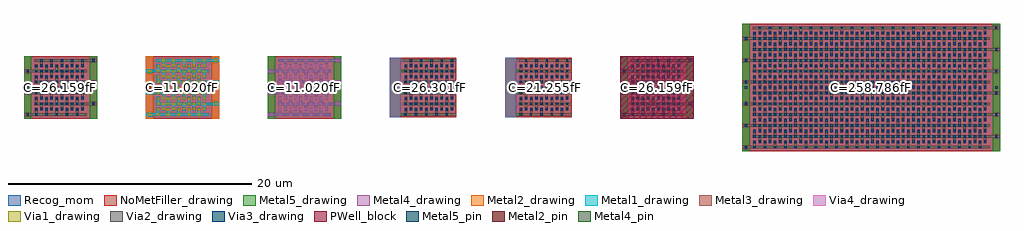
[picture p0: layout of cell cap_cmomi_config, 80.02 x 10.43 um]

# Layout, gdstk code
import gdstk
lib = gdstk.Library(unit=1e-6, precision=1e-09)
def R(c, l, rs):  # rectangles x0, y0, x1, y1
    for r in rs: c.add(gdstk.rectangle(r[:2], r[2:], *l))
def A(c, l, x, y, w, h, nx, ny, dx, dy):  # array of equal rectangles
    R(c, l, [(x+i*dx, y+j*dy, x+i*dx+w, y+j*dy+h) for i in range(nx) for j in range(ny)])
Metal1_drawing = (8, 0)
Metal2_drawing = (10, 0)
Metal2_pin = (10, 2)
Via1_drawing = (19, 0)
Via2_drawing = (29, 0)
Metal3_drawing = (30, 0)
PWell_block = (46, 21)
Via3_drawing = (49, 0)
Metal4_drawing = (50, 0)
Metal4_pin = (50, 2)
Via4_drawing = (66, 0)
Metal5_drawing = (67, 0)
Metal5_pin = (67, 2)
Recog_mom = (99, 39)
NoMetFiller_drawing = (160, 0)

cap_cmomi_config = lib.new_cell('cap_cmomi_config')
A(cap_cmomi_config, Metal1_drawing, 59.045, -5.05, 0.31, 0.31, 1, 6, 0, 1.78)
A(cap_cmomi_config, Metal1_drawing, 58.9, -5, 20.27, 0.21, 1, 6, 0, 1.78)
A(cap_cmomi_config, Metal1_drawing, 59.8, -4.895, 0.21, 0.575, 23, 11, 0.84, 0.89)
A(cap_cmomi_config, Metal1_drawing, 60.22, -4.58, 0.21, 0.575, 23, 11, 0.84, 0.89)
A(cap_cmomi_config, Metal1_drawing, 79.565, -4.16, 0.31, 0.31, 1, 6, 0, 1.78)
A(cap_cmomi_config, Metal1_drawing, 59.75, -4.11, 20.27, 0.21, 1, 6, 0, 1.78)
A(cap_cmomi_config, Metal1_drawing, 0.145, -2.38, 0.31, 0.31, 1, 3, 0, 1.78)
A(cap_cmomi_config, Metal1_drawing, 10.145, -2.38, 0.31, 0.31, 1, 3, 0, 1.78)
A(cap_cmomi_config, Metal1_drawing, 49.045, -2.38, 0.31, 0.31, 1, 3, 0, 1.78)
A(cap_cmomi_config, Metal1_drawing, 0, -2.33, 5.15, 0.21, 1, 3, 0, 1.78)
A(cap_cmomi_config, Metal1_drawing, 10, -2.33, 5.15, 0.21, 1, 3, 0, 1.78)
A(cap_cmomi_config, Metal1_drawing, 31.15, -2.33, 4.3, 0.21, 1, 6, 0, 0.89)
A(cap_cmomi_config, Metal1_drawing, 48.9, -2.33, 5.15, 0.21, 1, 3, 0, 1.78)
A(cap_cmomi_config, Metal1_drawing, 0.9, -2.225, 0.21, 0.575, 5, 5, 0.84, 0.89)
A(cap_cmomi_config, Metal1_drawing, 10.9, -2.225, 0.21, 0.575, 5, 5, 0.84, 0.89)
A(cap_cmomi_config, Metal1_drawing, 31.2, -2.225, 0.21, 0.575, 5, 5, 0.84, 0.89)
A(cap_cmomi_config, Metal1_drawing, 49.8, -2.225, 0.21, 0.575, 5, 5, 0.84, 0.89)
A(cap_cmomi_config, Metal1_drawing, 1.32, -1.91, 0.21, 0.575, 5, 5, 0.84, 0.89)
A(cap_cmomi_config, Metal1_drawing, 11.32, -1.91, 0.21, 0.575, 5, 5, 0.84, 0.89)
A(cap_cmomi_config, Metal1_drawing, 31.62, -1.91, 0.21, 0.575, 5, 5, 0.84, 0.89)
A(cap_cmomi_config, Metal1_drawing, 50.22, -1.91, 0.21, 0.575, 5, 5, 0.84, 0.89)
A(cap_cmomi_config, Metal1_drawing, 5.545, -1.49, 0.31, 0.31, 1, 3, 0, 1.78)
A(cap_cmomi_config, Metal1_drawing, 15.545, -1.49, 0.31, 0.31, 1, 3, 0, 1.78)
A(cap_cmomi_config, Metal1_drawing, 54.445, -1.49, 0.31, 0.31, 1, 3, 0, 1.78)
A(cap_cmomi_config, Metal1_drawing, 0.85, -1.44, 5.15, 0.21, 1, 3, 0, 1.78)
A(cap_cmomi_config, Metal1_drawing, 10.85, -1.44, 5.15, 0.21, 1, 3, 0, 1.78)
A(cap_cmomi_config, Metal1_drawing, 49.75, -1.44, 5.15, 0.21, 1, 3, 0, 1.78)
A(cap_cmomi_config, Metal2_drawing, 59.045, -5.05, 0.31, 0.31, 1, 6, 0, 1.78)
A(cap_cmomi_config, Metal2_drawing, 58.9, -5, 20.27, 0.21, 1, 6, 0, 1.78)
A(cap_cmomi_config, Metal2_drawing, 59.8, -4.895, 0.21, 0.575, 23, 11, 0.84, 0.89)
A(cap_cmomi_config, Metal2_drawing, 60.22, -4.58, 0.21, 0.575, 23, 11, 0.84, 0.89)
A(cap_cmomi_config, Metal2_drawing, 79.565, -4.16, 0.31, 0.31, 1, 6, 0, 1.78)
A(cap_cmomi_config, Metal2_drawing, 59.75, -4.11, 20.27, 0.21, 1, 6, 0, 1.78)
A(cap_cmomi_config, Metal2_drawing, 0.145, -2.38, 0.31, 0.31, 1, 3, 0, 1.78)
A(cap_cmomi_config, Metal2_drawing, 49.045, -2.38, 0.31, 0.31, 1, 3, 0, 1.78)
A(cap_cmomi_config, Metal2_drawing, 0, -2.33, 5.15, 0.21, 1, 3, 0, 1.78)
A(cap_cmomi_config, Metal2_drawing, 10, -2.33, 5.15, 0.21, 1, 3, 0, 1.78)
A(cap_cmomi_config, Metal2_drawing, 31.15, -2.33, 4.3, 0.21, 1, 6, 0, 0.89)
A(cap_cmomi_config, Metal2_drawing, 40.6, -2.33, 4.3, 0.21, 1, 6, 0, 0.89)
A(cap_cmomi_config, Metal2_drawing, 48.9, -2.33, 5.15, 0.21, 1, 3, 0, 1.78)
A(cap_cmomi_config, Metal2_drawing, 0.9, -2.225, 0.21, 0.575, 5, 5, 0.84, 0.89)
A(cap_cmomi_config, Metal2_drawing, 10.9, -2.225, 0.21, 0.575, 5, 5, 0.84, 0.89)
A(cap_cmomi_config, Metal2_drawing, 31.2, -2.225, 0.21, 0.575, 5, 5, 0.84, 0.89)
A(cap_cmomi_config, Metal2_drawing, 40.65, -2.225, 0.21, 0.575, 5, 5, 0.84, 0.89)
A(cap_cmomi_config, Metal2_drawing, 49.8, -2.225, 0.21, 0.575, 5, 5, 0.84, 0.89)
A(cap_cmomi_config, Metal2_drawing, 1.32, -1.91, 0.21, 0.575, 5, 5, 0.84, 0.89)
A(cap_cmomi_config, Metal2_drawing, 11.32, -1.91, 0.21, 0.575, 5, 5, 0.84, 0.89)
A(cap_cmomi_config, Metal2_drawing, 31.62, -1.91, 0.21, 0.575, 5, 5, 0.84, 0.89)
A(cap_cmomi_config, Metal2_drawing, 41.07, -1.91, 0.21, 0.575, 5, 5, 0.84, 0.89)
A(cap_cmomi_config, Metal2_drawing, 50.22, -1.91, 0.21, 0.575, 5, 5, 0.84, 0.89)
A(cap_cmomi_config, Metal2_drawing, 5.545, -1.49, 0.31, 0.31, 1, 3, 0, 1.78)
A(cap_cmomi_config, Metal2_drawing, 54.445, -1.49, 0.31, 0.31, 1, 3, 0, 1.78)
A(cap_cmomi_config, Metal2_drawing, 0.85, -1.44, 5.15, 0.21, 1, 3, 0, 1.78)
A(cap_cmomi_config, Metal2_drawing, 10.85, -1.44, 5.15, 0.21, 1, 3, 0, 1.78)
A(cap_cmomi_config, Metal2_drawing, 49.75, -1.44, 5.15, 0.21, 1, 3, 0, 1.78)
R(cap_cmomi_config, Metal2_drawing, [(10,-2.545,10.6,2.545), (15.4,-2.545,16,2.545)])
R(cap_cmomi_config, Metal2_pin, [(10.2,-0.105,10.4,0.105), (15.6,-0.105,15.8,0.105)])
A(cap_cmomi_config, Via1_drawing, 59.105, -4.99, 0.19, 0.19, 1, 6, 0, 1.78)
A(cap_cmomi_config, Via1_drawing, 59.81, -4.99, 0.19, 0.19, 23, 2, 0.84, 0.41)
A(cap_cmomi_config, Via1_drawing, 60.23, -4.51, 0.19, 0.19, 23, 11, 0.84, 0.89)
A(cap_cmomi_config, Via1_drawing, 59.81, -4.1, 0.19, 0.19, 46, 10, 0.42, 0.89)
A(cap_cmomi_config, Via1_drawing, 79.625, -4.1, 0.19, 0.19, 1, 6, 0, 1.78)
A(cap_cmomi_config, Via1_drawing, 59.81, -3.69, 0.19, 0.19, 23, 10, 0.84, 0.89)
A(cap_cmomi_config, Via1_drawing, 0.205, -2.32, 0.19, 0.19, 1, 3, 0, 1.78)
A(cap_cmomi_config, Via1_drawing, 0.91, -2.32, 0.19, 0.19, 5, 2, 0.84, 0.41)
A(cap_cmomi_config, Via1_drawing, 10.205, -2.32, 0.19, 0.19, 1, 3, 0, 1.78)
A(cap_cmomi_config, Via1_drawing, 10.91, -2.32, 0.19, 0.19, 5, 2, 0.84, 0.41)
A(cap_cmomi_config, Via1_drawing, 31.21, -2.32, 0.19, 0.19, 5, 2, 0.84, 0.41)
A(cap_cmomi_config, Via1_drawing, 49.105, -2.32, 0.19, 0.19, 1, 3, 0, 1.78)
A(cap_cmomi_config, Via1_drawing, 49.81, -2.32, 0.19, 0.19, 5, 2, 0.84, 0.41)
A(cap_cmomi_config, Via1_drawing, 1.33, -1.84, 0.19, 0.19, 5, 5, 0.84, 0.89)
A(cap_cmomi_config, Via1_drawing, 11.33, -1.84, 0.19, 0.19, 5, 5, 0.84, 0.89)
A(cap_cmomi_config, Via1_drawing, 31.63, -1.84, 0.19, 0.19, 5, 5, 0.84, 0.89)
A(cap_cmomi_config, Via1_drawing, 50.23, -1.84, 0.19, 0.19, 5, 5, 0.84, 0.89)
A(cap_cmomi_config, Via1_drawing, 0.91, -1.43, 0.19, 0.19, 10, 4, 0.42, 0.89)
A(cap_cmomi_config, Via1_drawing, 5.605, -1.43, 0.19, 0.19, 1, 3, 0, 1.78)
A(cap_cmomi_config, Via1_drawing, 10.91, -1.43, 0.19, 0.19, 10, 4, 0.42, 0.89)
A(cap_cmomi_config, Via1_drawing, 15.605, -1.43, 0.19, 0.19, 1, 3, 0, 1.78)
A(cap_cmomi_config, Via1_drawing, 31.21, -1.43, 0.19, 0.19, 10, 4, 0.42, 0.89)
A(cap_cmomi_config, Via1_drawing, 49.81, -1.43, 0.19, 0.19, 10, 4, 0.42, 0.89)
A(cap_cmomi_config, Via1_drawing, 54.505, -1.43, 0.19, 0.19, 1, 3, 0, 1.78)
A(cap_cmomi_config, Via1_drawing, 0.91, -1.02, 0.19, 0.19, 5, 4, 0.84, 0.89)
A(cap_cmomi_config, Via1_drawing, 10.91, -1.02, 0.19, 0.19, 5, 4, 0.84, 0.89)
A(cap_cmomi_config, Via1_drawing, 31.21, -1.02, 0.19, 0.19, 5, 4, 0.84, 0.89)
A(cap_cmomi_config, Via1_drawing, 49.81, -1.02, 0.19, 0.19, 5, 4, 0.84, 0.89)
A(cap_cmomi_config, Via1_drawing, 1.33, 2.13, 0.19, 0.19, 5, 1, 0.84, 0)
A(cap_cmomi_config, Via1_drawing, 11.33, 2.13, 0.19, 0.19, 5, 1, 0.84, 0)
A(cap_cmomi_config, Via1_drawing, 31.63, 2.13, 0.19, 0.19, 5, 1, 0.84, 0)
A(cap_cmomi_config, Via1_drawing, 50.23, 2.13, 0.19, 0.19, 5, 1, 0.84, 0)
A(cap_cmomi_config, Via1_drawing, 60.23, 4.8, 0.19, 0.19, 23, 1, 0.84, 0)
A(cap_cmomi_config, Via2_drawing, 59.105, -4.99, 0.19, 0.19, 1, 6, 0, 1.78)
A(cap_cmomi_config, Via2_drawing, 59.81, -4.99, 0.19, 0.19, 23, 2, 0.84, 0.41)
A(cap_cmomi_config, Via2_drawing, 60.23, -4.51, 0.19, 0.19, 23, 11, 0.84, 0.89)
A(cap_cmomi_config, Via2_drawing, 59.81, -4.1, 0.19, 0.19, 46, 10, 0.42, 0.89)
A(cap_cmomi_config, Via2_drawing, 79.625, -4.1, 0.19, 0.19, 1, 6, 0, 1.78)
A(cap_cmomi_config, Via2_drawing, 59.81, -3.69, 0.19, 0.19, 23, 10, 0.84, 0.89)
A(cap_cmomi_config, Via2_drawing, 0.205, -2.32, 0.19, 0.19, 1, 3, 0, 1.78)
A(cap_cmomi_config, Via2_drawing, 0.91, -2.32, 0.19, 0.19, 5, 2, 0.84, 0.41)
A(cap_cmomi_config, Via2_drawing, 31.21, -2.32, 0.19, 0.19, 5, 2, 0.84, 0.41)
A(cap_cmomi_config, Via2_drawing, 40.66, -2.32, 0.19, 0.19, 5, 2, 0.84, 0.41)
A(cap_cmomi_config, Via2_drawing, 49.105, -2.32, 0.19, 0.19, 1, 3, 0, 1.78)
A(cap_cmomi_config, Via2_drawing, 49.81, -2.32, 0.19, 0.19, 5, 2, 0.84, 0.41)
A(cap_cmomi_config, Via2_drawing, 1.33, -1.84, 0.19, 0.19, 5, 5, 0.84, 0.89)
A(cap_cmomi_config, Via2_drawing, 31.63, -1.84, 0.19, 0.19, 5, 5, 0.84, 0.89)
A(cap_cmomi_config, Via2_drawing, 41.08, -1.84, 0.19, 0.19, 5, 5, 0.84, 0.89)
A(cap_cmomi_config, Via2_drawing, 50.23, -1.84, 0.19, 0.19, 5, 5, 0.84, 0.89)
A(cap_cmomi_config, Via2_drawing, 0.91, -1.43, 0.19, 0.19, 10, 4, 0.42, 0.89)
A(cap_cmomi_config, Via2_drawing, 5.605, -1.43, 0.19, 0.19, 1, 3, 0, 1.78)
A(cap_cmomi_config, Via2_drawing, 31.21, -1.43, 0.19, 0.19, 10, 4, 0.42, 0.89)
A(cap_cmomi_config, Via2_drawing, 40.66, -1.43, 0.19, 0.19, 10, 4, 0.42, 0.89)
A(cap_cmomi_config, Via2_drawing, 49.81, -1.43, 0.19, 0.19, 10, 4, 0.42, 0.89)
A(cap_cmomi_config, Via2_drawing, 54.505, -1.43, 0.19, 0.19, 1, 3, 0, 1.78)
A(cap_cmomi_config, Via2_drawing, 0.91, -1.02, 0.19, 0.19, 5, 4, 0.84, 0.89)
A(cap_cmomi_config, Via2_drawing, 31.21, -1.02, 0.19, 0.19, 5, 4, 0.84, 0.89)
A(cap_cmomi_config, Via2_drawing, 40.66, -1.02, 0.19, 0.19, 5, 4, 0.84, 0.89)
A(cap_cmomi_config, Via2_drawing, 49.81, -1.02, 0.19, 0.19, 5, 4, 0.84, 0.89)
A(cap_cmomi_config, Via2_drawing, 1.33, 2.13, 0.19, 0.19, 5, 1, 0.84, 0)
A(cap_cmomi_config, Via2_drawing, 31.63, 2.13, 0.19, 0.19, 5, 1, 0.84, 0)
A(cap_cmomi_config, Via2_drawing, 41.08, 2.13, 0.19, 0.19, 5, 1, 0.84, 0)
A(cap_cmomi_config, Via2_drawing, 50.23, 2.13, 0.19, 0.19, 5, 1, 0.84, 0)
A(cap_cmomi_config, Via2_drawing, 60.23, 4.8, 0.19, 0.19, 23, 1, 0.84, 0)
A(cap_cmomi_config, Metal3_drawing, 59.045, -5.05, 0.31, 0.31, 1, 6, 0, 1.78)
A(cap_cmomi_config, Metal3_drawing, 58.9, -5, 20.27, 0.21, 1, 6, 0, 1.78)
A(cap_cmomi_config, Metal3_drawing, 59.8, -4.895, 0.21, 0.575, 23, 11, 0.84, 0.89)
A(cap_cmomi_config, Metal3_drawing, 60.22, -4.58, 0.21, 0.575, 23, 11, 0.84, 0.89)
A(cap_cmomi_config, Metal3_drawing, 79.565, -4.16, 0.31, 0.31, 1, 6, 0, 1.78)
A(cap_cmomi_config, Metal3_drawing, 59.75, -4.11, 20.27, 0.21, 1, 6, 0, 1.78)
A(cap_cmomi_config, Metal3_drawing, 0.145, -2.38, 0.31, 0.31, 1, 3, 0, 1.78)
A(cap_cmomi_config, Metal3_drawing, 49.045, -2.38, 0.31, 0.31, 1, 3, 0, 1.78)
A(cap_cmomi_config, Metal3_drawing, 0, -2.33, 5.15, 0.21, 1, 3, 0, 1.78)
A(cap_cmomi_config, Metal3_drawing, 31.15, -2.33, 4.3, 0.21, 1, 6, 0, 0.89)
A(cap_cmomi_config, Metal3_drawing, 40.6, -2.33, 4.3, 0.21, 1, 6, 0, 0.89)
A(cap_cmomi_config, Metal3_drawing, 48.9, -2.33, 5.15, 0.21, 1, 3, 0, 1.78)
A(cap_cmomi_config, Metal3_drawing, 0.9, -2.225, 0.21, 0.575, 5, 5, 0.84, 0.89)
A(cap_cmomi_config, Metal3_drawing, 31.2, -2.225, 0.21, 0.575, 5, 5, 0.84, 0.89)
A(cap_cmomi_config, Metal3_drawing, 40.65, -2.225, 0.21, 0.575, 5, 5, 0.84, 0.89)
A(cap_cmomi_config, Metal3_drawing, 49.8, -2.225, 0.21, 0.575, 5, 5, 0.84, 0.89)
A(cap_cmomi_config, Metal3_drawing, 1.32, -1.91, 0.21, 0.575, 5, 5, 0.84, 0.89)
A(cap_cmomi_config, Metal3_drawing, 31.62, -1.91, 0.21, 0.575, 5, 5, 0.84, 0.89)
A(cap_cmomi_config, Metal3_drawing, 41.07, -1.91, 0.21, 0.575, 5, 5, 0.84, 0.89)
A(cap_cmomi_config, Metal3_drawing, 50.22, -1.91, 0.21, 0.575, 5, 5, 0.84, 0.89)
A(cap_cmomi_config, Metal3_drawing, 5.545, -1.49, 0.31, 0.31, 1, 3, 0, 1.78)
A(cap_cmomi_config, Metal3_drawing, 54.445, -1.49, 0.31, 0.31, 1, 3, 0, 1.78)
A(cap_cmomi_config, Metal3_drawing, 0.85, -1.44, 5.15, 0.21, 1, 3, 0, 1.78)
A(cap_cmomi_config, Metal3_drawing, 49.75, -1.44, 5.15, 0.21, 1, 3, 0, 1.78)
R(cap_cmomi_config, PWell_block, [(48.9,-2.545,54.9,2.545)])
A(cap_cmomi_config, Via3_drawing, 59.105, -4.99, 0.19, 0.19, 1, 6, 0, 1.78)
A(cap_cmomi_config, Via3_drawing, 59.81, -4.99, 0.19, 0.19, 23, 2, 0.84, 0.41)
A(cap_cmomi_config, Via3_drawing, 60.23, -4.51, 0.19, 0.19, 23, 11, 0.84, 0.89)
A(cap_cmomi_config, Via3_drawing, 59.81, -4.1, 0.19, 0.19, 46, 10, 0.42, 0.89)
A(cap_cmomi_config, Via3_drawing, 79.625, -4.1, 0.19, 0.19, 1, 6, 0, 1.78)
A(cap_cmomi_config, Via3_drawing, 59.81, -3.69, 0.19, 0.19, 23, 10, 0.84, 0.89)
A(cap_cmomi_config, Via3_drawing, 0.205, -2.32, 0.19, 0.19, 1, 3, 0, 1.78)
A(cap_cmomi_config, Via3_drawing, 0.91, -2.32, 0.19, 0.19, 5, 2, 0.84, 0.41)
A(cap_cmomi_config, Via3_drawing, 31.21, -2.32, 0.19, 0.19, 5, 2, 0.84, 0.41)
A(cap_cmomi_config, Via3_drawing, 40.66, -2.32, 0.19, 0.19, 5, 2, 0.84, 0.41)
A(cap_cmomi_config, Via3_drawing, 49.105, -2.32, 0.19, 0.19, 1, 3, 0, 1.78)
A(cap_cmomi_config, Via3_drawing, 49.81, -2.32, 0.19, 0.19, 5, 2, 0.84, 0.41)
A(cap_cmomi_config, Via3_drawing, 1.33, -1.84, 0.19, 0.19, 5, 5, 0.84, 0.89)
A(cap_cmomi_config, Via3_drawing, 31.63, -1.84, 0.19, 0.19, 5, 5, 0.84, 0.89)
A(cap_cmomi_config, Via3_drawing, 41.08, -1.84, 0.19, 0.19, 5, 5, 0.84, 0.89)
A(cap_cmomi_config, Via3_drawing, 50.23, -1.84, 0.19, 0.19, 5, 5, 0.84, 0.89)
A(cap_cmomi_config, Via3_drawing, 0.91, -1.43, 0.19, 0.19, 10, 4, 0.42, 0.89)
A(cap_cmomi_config, Via3_drawing, 5.605, -1.43, 0.19, 0.19, 1, 3, 0, 1.78)
A(cap_cmomi_config, Via3_drawing, 31.21, -1.43, 0.19, 0.19, 10, 4, 0.42, 0.89)
A(cap_cmomi_config, Via3_drawing, 40.66, -1.43, 0.19, 0.19, 10, 4, 0.42, 0.89)
A(cap_cmomi_config, Via3_drawing, 49.81, -1.43, 0.19, 0.19, 10, 4, 0.42, 0.89)
A(cap_cmomi_config, Via3_drawing, 54.505, -1.43, 0.19, 0.19, 1, 3, 0, 1.78)
A(cap_cmomi_config, Via3_drawing, 0.91, -1.02, 0.19, 0.19, 5, 4, 0.84, 0.89)
A(cap_cmomi_config, Via3_drawing, 31.21, -1.02, 0.19, 0.19, 5, 4, 0.84, 0.89)
A(cap_cmomi_config, Via3_drawing, 40.66, -1.02, 0.19, 0.19, 5, 4, 0.84, 0.89)
A(cap_cmomi_config, Via3_drawing, 49.81, -1.02, 0.19, 0.19, 5, 4, 0.84, 0.89)
A(cap_cmomi_config, Via3_drawing, 1.33, 2.13, 0.19, 0.19, 5, 1, 0.84, 0)
A(cap_cmomi_config, Via3_drawing, 31.63, 2.13, 0.19, 0.19, 5, 1, 0.84, 0)
A(cap_cmomi_config, Via3_drawing, 41.08, 2.13, 0.19, 0.19, 5, 1, 0.84, 0)
A(cap_cmomi_config, Via3_drawing, 50.23, 2.13, 0.19, 0.19, 5, 1, 0.84, 0)
A(cap_cmomi_config, Via3_drawing, 60.23, 4.8, 0.19, 0.19, 23, 1, 0.84, 0)
A(cap_cmomi_config, Metal4_drawing, 59.045, -5.05, 0.31, 0.31, 1, 6, 0, 1.78)
A(cap_cmomi_config, Metal4_drawing, 58.9, -5, 20.27, 0.21, 1, 6, 0, 1.78)
A(cap_cmomi_config, Metal4_drawing, 59.8, -4.895, 0.21, 0.575, 23, 11, 0.84, 0.89)
A(cap_cmomi_config, Metal4_drawing, 60.22, -4.58, 0.21, 0.575, 23, 11, 0.84, 0.89)
A(cap_cmomi_config, Metal4_drawing, 79.565, -4.16, 0.31, 0.31, 1, 6, 0, 1.78)
A(cap_cmomi_config, Metal4_drawing, 59.75, -4.11, 20.27, 0.21, 1, 6, 0, 1.78)
A(cap_cmomi_config, Metal4_drawing, 0.145, -2.38, 0.31, 0.31, 1, 3, 0, 1.78)
A(cap_cmomi_config, Metal4_drawing, 20.145, -2.38, 0.31, 0.31, 1, 3, 0, 1.78)
A(cap_cmomi_config, Metal4_drawing, 49.045, -2.38, 0.31, 0.31, 1, 3, 0, 1.78)
A(cap_cmomi_config, Metal4_drawing, 0, -2.33, 5.15, 0.21, 1, 3, 0, 1.78)
A(cap_cmomi_config, Metal4_drawing, 20, -2.33, 5.15, 0.21, 1, 3, 0, 1.78)
A(cap_cmomi_config, Metal4_drawing, 31.15, -2.33, 4.3, 0.21, 1, 3, 0, 1.78)
A(cap_cmomi_config, Metal4_drawing, 40.6, -2.33, 4.3, 0.21, 1, 3, 0, 1.78)
A(cap_cmomi_config, Metal4_drawing, 48.9, -2.33, 5.15, 0.21, 1, 3, 0, 1.78)
A(cap_cmomi_config, Metal4_drawing, 0.9, -2.225, 0.21, 0.575, 5, 5, 0.84, 0.89)
A(cap_cmomi_config, Metal4_drawing, 20.9, -2.225, 0.21, 0.575, 5, 5, 0.84, 0.89)
A(cap_cmomi_config, Metal4_drawing, 31.2, -2.225, 0.21, 0.575, 5, 5, 0.84, 0.89)
A(cap_cmomi_config, Metal4_drawing, 40.65, -2.225, 0.21, 0.575, 5, 5, 0.84, 0.89)
A(cap_cmomi_config, Metal4_drawing, 49.8, -2.225, 0.21, 0.575, 5, 5, 0.84, 0.89)
A(cap_cmomi_config, Metal4_drawing, 1.32, -1.91, 0.21, 0.575, 5, 5, 0.84, 0.89)
A(cap_cmomi_config, Metal4_drawing, 21.32, -1.91, 0.21, 0.575, 5, 5, 0.84, 0.89)
A(cap_cmomi_config, Metal4_drawing, 31.62, -1.91, 0.21, 0.575, 5, 5, 0.84, 0.89)
A(cap_cmomi_config, Metal4_drawing, 41.07, -1.91, 0.21, 0.575, 5, 5, 0.84, 0.89)
A(cap_cmomi_config, Metal4_drawing, 50.22, -1.91, 0.21, 0.575, 5, 5, 0.84, 0.89)
A(cap_cmomi_config, Metal4_drawing, 5.545, -1.49, 0.31, 0.31, 1, 3, 0, 1.78)
A(cap_cmomi_config, Metal4_drawing, 25.545, -1.49, 0.31, 0.31, 1, 3, 0, 1.78)
A(cap_cmomi_config, Metal4_drawing, 54.445, -1.49, 0.31, 0.31, 1, 3, 0, 1.78)
A(cap_cmomi_config, Metal4_drawing, 0.85, -1.44, 5.15, 0.21, 1, 3, 0, 1.78)
A(cap_cmomi_config, Metal4_drawing, 20.85, -1.44, 5.15, 0.21, 1, 3, 0, 1.78)
A(cap_cmomi_config, Metal4_drawing, 30, -1.44, 5.45, 0.21, 1, 3, 0, 1.78)
A(cap_cmomi_config, Metal4_drawing, 39.45, -1.44, 5.45, 0.21, 1, 3, 0, 1.78)
A(cap_cmomi_config, Metal4_drawing, 49.75, -1.44, 5.15, 0.21, 1, 3, 0, 1.78)
R(cap_cmomi_config, Metal4_drawing, [(30,-2.435,30.9,2.435), (39.45,-2.435,40.35,2.435)])
R(cap_cmomi_config, Metal4_pin, [(30.35,-0.105,30.55,0.105), (39.8,-0.105,40,0.105)])
A(cap_cmomi_config, Via4_drawing, 59.105, -4.99, 0.19, 0.19, 1, 6, 0, 1.78)
A(cap_cmomi_config, Via4_drawing, 59.81, -4.99, 0.19, 0.19, 23, 2, 0.84, 0.41)
A(cap_cmomi_config, Via4_drawing, 60.23, -4.51, 0.19, 0.19, 23, 11, 0.84, 0.89)
A(cap_cmomi_config, Via4_drawing, 59.81, -4.1, 0.19, 0.19, 46, 10, 0.42, 0.89)
A(cap_cmomi_config, Via4_drawing, 79.625, -4.1, 0.19, 0.19, 1, 6, 0, 1.78)
A(cap_cmomi_config, Via4_drawing, 59.81, -3.69, 0.19, 0.19, 23, 10, 0.84, 0.89)
A(cap_cmomi_config, Via4_drawing, 0.205, -2.32, 0.19, 0.19, 1, 3, 0, 1.78)
A(cap_cmomi_config, Via4_drawing, 0.91, -2.32, 0.19, 0.19, 5, 2, 0.84, 0.41)
A(cap_cmomi_config, Via4_drawing, 20.205, -2.32, 0.19, 0.19, 1, 3, 0, 1.78)
A(cap_cmomi_config, Via4_drawing, 20.91, -2.32, 0.19, 0.19, 5, 2, 0.84, 0.41)
A(cap_cmomi_config, Via4_drawing, 31.21, -2.32, 0.19, 0.19, 5, 2, 0.84, 0.41)
A(cap_cmomi_config, Via4_drawing, 40.66, -2.32, 0.19, 0.19, 5, 2, 0.84, 0.41)
A(cap_cmomi_config, Via4_drawing, 49.105, -2.32, 0.19, 0.19, 1, 3, 0, 1.78)
A(cap_cmomi_config, Via4_drawing, 49.81, -2.32, 0.19, 0.19, 5, 2, 0.84, 0.41)
A(cap_cmomi_config, Via4_drawing, 1.33, -1.84, 0.19, 0.19, 5, 5, 0.84, 0.89)
A(cap_cmomi_config, Via4_drawing, 21.33, -1.84, 0.19, 0.19, 5, 5, 0.84, 0.89)
A(cap_cmomi_config, Via4_drawing, 31.63, -1.84, 0.19, 0.19, 5, 5, 0.84, 0.89)
A(cap_cmomi_config, Via4_drawing, 41.08, -1.84, 0.19, 0.19, 5, 5, 0.84, 0.89)
A(cap_cmomi_config, Via4_drawing, 50.23, -1.84, 0.19, 0.19, 5, 5, 0.84, 0.89)
A(cap_cmomi_config, Via4_drawing, 0.91, -1.43, 0.19, 0.19, 10, 4, 0.42, 0.89)
A(cap_cmomi_config, Via4_drawing, 5.605, -1.43, 0.19, 0.19, 1, 3, 0, 1.78)
A(cap_cmomi_config, Via4_drawing, 20.91, -1.43, 0.19, 0.19, 10, 4, 0.42, 0.89)
A(cap_cmomi_config, Via4_drawing, 25.605, -1.43, 0.19, 0.19, 1, 3, 0, 1.78)
A(cap_cmomi_config, Via4_drawing, 31.21, -1.43, 0.19, 0.19, 10, 4, 0.42, 0.89)
A(cap_cmomi_config, Via4_drawing, 40.66, -1.43, 0.19, 0.19, 10, 4, 0.42, 0.89)
A(cap_cmomi_config, Via4_drawing, 49.81, -1.43, 0.19, 0.19, 10, 4, 0.42, 0.89)
A(cap_cmomi_config, Via4_drawing, 54.505, -1.43, 0.19, 0.19, 1, 3, 0, 1.78)
A(cap_cmomi_config, Via4_drawing, 0.91, -1.02, 0.19, 0.19, 5, 4, 0.84, 0.89)
A(cap_cmomi_config, Via4_drawing, 20.91, -1.02, 0.19, 0.19, 5, 4, 0.84, 0.89)
A(cap_cmomi_config, Via4_drawing, 31.21, -1.02, 0.19, 0.19, 5, 4, 0.84, 0.89)
A(cap_cmomi_config, Via4_drawing, 40.66, -1.02, 0.19, 0.19, 5, 4, 0.84, 0.89)
A(cap_cmomi_config, Via4_drawing, 49.81, -1.02, 0.19, 0.19, 5, 4, 0.84, 0.89)
A(cap_cmomi_config, Via4_drawing, 1.33, 2.13, 0.19, 0.19, 5, 1, 0.84, 0)
A(cap_cmomi_config, Via4_drawing, 21.33, 2.13, 0.19, 0.19, 5, 1, 0.84, 0)
A(cap_cmomi_config, Via4_drawing, 31.63, 2.13, 0.19, 0.19, 5, 1, 0.84, 0)
A(cap_cmomi_config, Via4_drawing, 41.08, 2.13, 0.19, 0.19, 5, 1, 0.84, 0)
A(cap_cmomi_config, Via4_drawing, 50.23, 2.13, 0.19, 0.19, 5, 1, 0.84, 0)
A(cap_cmomi_config, Via4_drawing, 60.23, 4.8, 0.19, 0.19, 23, 1, 0.84, 0)
A(cap_cmomi_config, Metal5_drawing, 58.9, -5, 20.27, 0.21, 1, 6, 0, 1.78)
A(cap_cmomi_config, Metal5_drawing, 59.8, -4.895, 0.21, 0.575, 23, 11, 0.84, 0.89)
A(cap_cmomi_config, Metal5_drawing, 60.22, -4.58, 0.21, 0.575, 23, 11, 0.84, 0.89)
A(cap_cmomi_config, Metal5_drawing, 59.75, -4.11, 20.27, 0.21, 1, 6, 0, 1.78)
A(cap_cmomi_config, Metal5_drawing, 0, -2.33, 5.15, 0.21, 1, 3, 0, 1.78)
A(cap_cmomi_config, Metal5_drawing, 20, -2.33, 5.15, 0.21, 1, 3, 0, 1.78)
A(cap_cmomi_config, Metal5_drawing, 30, -2.33, 5.45, 0.21, 1, 3, 0, 1.78)
A(cap_cmomi_config, Metal5_drawing, 39.45, -2.33, 5.45, 0.21, 1, 3, 0, 1.78)
A(cap_cmomi_config, Metal5_drawing, 48.9, -2.33, 5.15, 0.21, 1, 3, 0, 1.78)
A(cap_cmomi_config, Metal5_drawing, 0.9, -2.225, 0.21, 0.575, 5, 5, 0.84, 0.89)
A(cap_cmomi_config, Metal5_drawing, 20.9, -2.225, 0.21, 0.575, 5, 5, 0.84, 0.89)
A(cap_cmomi_config, Metal5_drawing, 31.2, -2.225, 0.21, 0.575, 5, 5, 0.84, 0.89)
A(cap_cmomi_config, Metal5_drawing, 40.65, -2.225, 0.21, 0.575, 5, 5, 0.84, 0.89)
A(cap_cmomi_config, Metal5_drawing, 49.8, -2.225, 0.21, 0.575, 5, 5, 0.84, 0.89)
A(cap_cmomi_config, Metal5_drawing, 1.32, -1.91, 0.21, 0.575, 5, 5, 0.84, 0.89)
A(cap_cmomi_config, Metal5_drawing, 21.32, -1.91, 0.21, 0.575, 5, 5, 0.84, 0.89)
A(cap_cmomi_config, Metal5_drawing, 31.62, -1.91, 0.21, 0.575, 5, 5, 0.84, 0.89)
A(cap_cmomi_config, Metal5_drawing, 41.07, -1.91, 0.21, 0.575, 5, 5, 0.84, 0.89)
A(cap_cmomi_config, Metal5_drawing, 50.22, -1.91, 0.21, 0.575, 5, 5, 0.84, 0.89)
A(cap_cmomi_config, Metal5_drawing, 0.85, -1.44, 5.15, 0.21, 1, 3, 0, 1.78)
A(cap_cmomi_config, Metal5_drawing, 20.85, -1.44, 5.15, 0.21, 1, 3, 0, 1.78)
A(cap_cmomi_config, Metal5_drawing, 31.15, -1.44, 4.3, 0.21, 1, 3, 0, 1.78)
A(cap_cmomi_config, Metal5_drawing, 40.6, -1.44, 4.3, 0.21, 1, 3, 0, 1.78)
A(cap_cmomi_config, Metal5_drawing, 49.75, -1.44, 5.15, 0.21, 1, 3, 0, 1.78)
R(cap_cmomi_config, Metal5_drawing, [(58.9,-5.215,59.5,5.215), (79.42,-5.215,80.02,5.215), (0,-2.545,0.6,2.545), (5.4,-2.545,6,2.545), (20,-2.545,20.6,2.545), (25.4,-2.545,26,2.545), (48.9,-2.545,49.5,2.545), (54.3,-2.545,54.9,2.545), (30,-2.435,30.9,2.435), (39.45,-2.435,40.35,2.435)])
R(cap_cmomi_config, Metal5_pin, [(0.2,-0.105,0.4,0.105), (5.6,-0.105,5.8,0.105), (20.2,-0.105,20.4,0.105), (25.6,-0.105,25.8,0.105), (30.35,-0.105,30.55,0.105), (39.8,-0.105,40,0.105), (49.1,-0.105,49.3,0.105), (54.5,-0.105,54.7,0.105), (59.1,-0.105,59.3,0.105), (79.62,-0.105,79.82,0.105)])
A(cap_cmomi_config, Recog_mom, 0, -2.545, 6, 5.09, 3, 1, 10, 0)
R(cap_cmomi_config, Recog_mom, [(58.9,-5.215,80.02,5.215), (48.9,-2.545,54.9,2.545), (30,-2.435,35.45,2.435), (39.45,-2.435,44.9,2.435)])
A(cap_cmomi_config, NoMetFiller_drawing, 0, -2.545, 6, 5.09, 3, 1, 10, 0)
R(cap_cmomi_config, NoMetFiller_drawing, [(58.9,-5.215,80.02,5.215), (48.9,-2.545,54.9,2.545), (30,-2.435,35.45,2.435), (39.45,-2.435,44.9,2.435)])
cap_cmomi_config.add(gdstk.Label('C=26.159fF', (3,0), layer=63, texttype=0))
cap_cmomi_config.add(gdstk.Label('cap_cmomi', (3,0), layer=63, texttype=0))
cap_cmomi_config.add(gdstk.Label('l=4.20 w=4.45u', (3,-0.5), layer=63, texttype=0))
cap_cmomi_config.add(gdstk.Label('C=11.020fF', (13,0), layer=63, texttype=0))
cap_cmomi_config.add(gdstk.Label('cap_cmomi', (13,0), layer=63, texttype=0))
cap_cmomi_config.add(gdstk.Label('l=4.20 w=4.45u', (13,-0.5), layer=63, texttype=0))
cap_cmomi_config.add(gdstk.Label('C=11.020fF', (23,0), layer=63, texttype=0))
cap_cmomi_config.add(gdstk.Label('cap_cmomi', (23,0), layer=63, texttype=0))
cap_cmomi_config.add(gdstk.Label('l=4.20 w=4.45u', (23,-0.5), layer=63, texttype=0))
cap_cmomi_config.add(gdstk.Label('C=26.301fF', (33.3,0), layer=63, texttype=0))
cap_cmomi_config.add(gdstk.Label('cap_cmomi', (33.3,0), layer=63, texttype=0))
cap_cmomi_config.add(gdstk.Label('l=4.20 w=4.45u', (33.3,-0.5), layer=63, texttype=0))
cap_cmomi_config.add(gdstk.Label('C=21.255fF', (42.75,0), layer=63, texttype=0))
cap_cmomi_config.add(gdstk.Label('cap_cmomi', (42.75,0), layer=63, texttype=0))
cap_cmomi_config.add(gdstk.Label('l=4.20 w=4.45u', (42.75,-0.5), layer=63, texttype=0))
cap_cmomi_config.add(gdstk.Label('C=26.159fF', (51.9,0), layer=63, texttype=0))
cap_cmomi_config.add(gdstk.Label('cap_cmomi', (51.9,0), layer=63, texttype=0))
cap_cmomi_config.add(gdstk.Label('l=4.20 w=4.45u', (51.9,-0.5), layer=63, texttype=0))
cap_cmomi_config.add(gdstk.Label('C=258.786fF', (69.46,0), layer=63, texttype=0))
cap_cmomi_config.add(gdstk.Label('cap_cmomi', (69.46,0), layer=63, texttype=0))
cap_cmomi_config.add(gdstk.Label('l=19.32 w=9.79u', (69.46,-1), layer=63, texttype=0))

lib.write_gds('cap_cmomi_config.gds')
